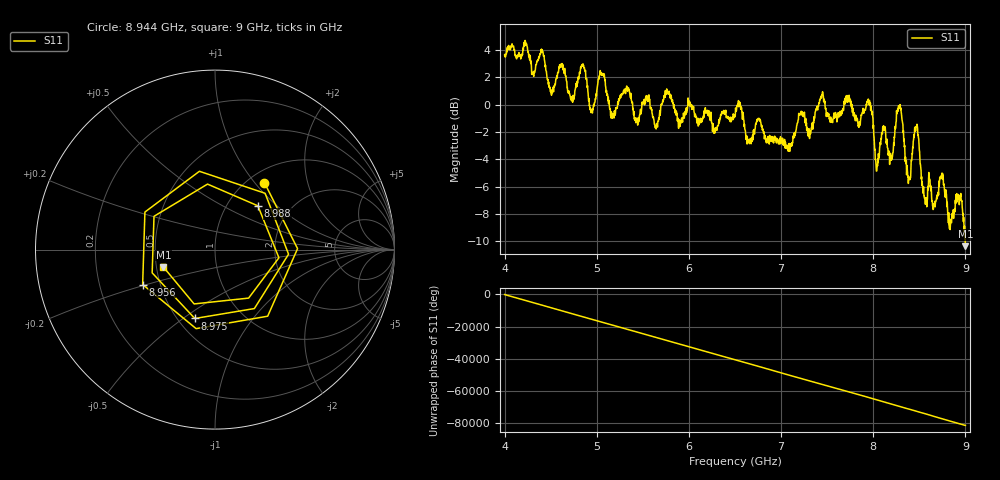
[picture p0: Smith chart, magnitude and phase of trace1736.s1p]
! Created with skrf 1.8.0 (http://scikit-rf.org).
# Hz S RI R 50.0
!freq ReS11 ImS11
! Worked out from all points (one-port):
!   1601 points, 4 GHz to 9 GHz, reference 50 ohm
!   lowest |S11| = -10.4 dB at 9 GHz (marker M1), VSWR 1.87, Z = 27.2 - j5.79 ohm
!   |S11| at or under -10 dB: 8.998145 GHz to end of sweep
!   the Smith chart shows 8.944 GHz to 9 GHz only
!   S11 on the Smith chart (normalised r, x): 8.944 GHz: 1.18, +1.12; 8.956 GHz: 0.40, -0.19; 8.975 GHz: 0.61, -0.55; 8.988 GHz: 1.38, +0.76; 9 GHz: 0.54, -0.12
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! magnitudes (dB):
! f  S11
! 4 GHz  3.6
! 4.406 GHz  4.0
! 4.506 GHz  0.9
! 4.625 GHz  2.8
! 4.734 GHz  0.5
! 4.853 GHz  2.8
! 4.944 GHz  -0.3
! 5.053 GHz  2.2
! 5.162 GHz  -0.7
! 5.25 GHz  0.5
! 5.875 GHz  -1.2
! 6.5 GHz  -0.9
! 7.125 GHz  -2.8
! 7.434 GHz  0.6
! 7.75 GHz  0.2
! 7.966 GHz  -0.1
! 8.041 GHz  -4.6
! 8.109 GHz  -1.7
! 8.2 GHz  -4.0
! 8.284 GHz  -0.3
! 8.375 GHz  -5.3
! 8.466 GHz  -1.6
! 8.562 GHz  -7.1
! 8.944 GHz  -6.7
! 8.956 GHz  -7.0
! 8.975 GHz  -8.0
! 8.988 GHz  -9.3
! 9 GHz  -10.4
